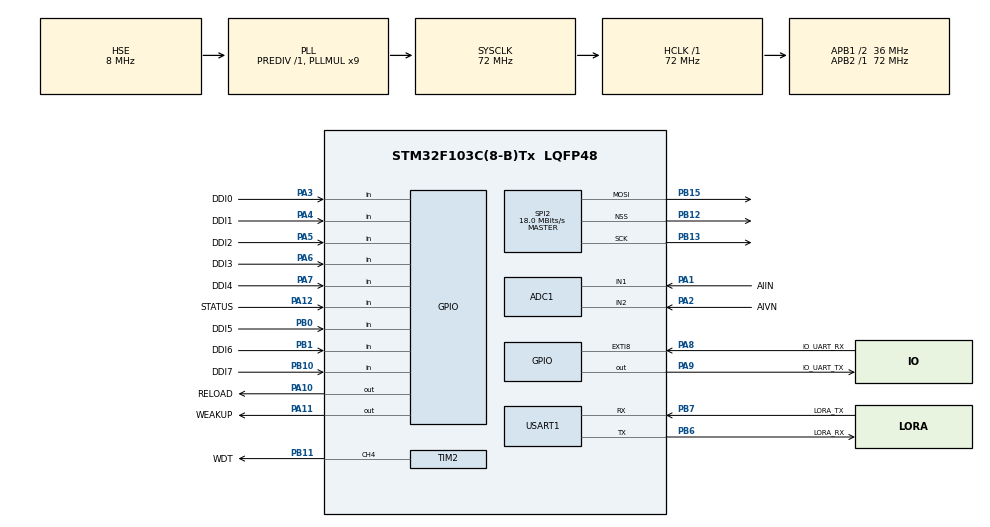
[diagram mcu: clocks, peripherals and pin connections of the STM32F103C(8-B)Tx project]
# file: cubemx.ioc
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ADC1.Channel-0\#ChannelRegularConversion=ADC_CHANNEL_1
ADC1.Channel-1\#ChannelRegularConversion=ADC_CHANNEL_2
ADC1.ContinuousConvMode=ENABLE
ADC1.EnableAnalogWatchDog=true
ADC1.NbrOfConversion=2
ADC1.NbrOfConversionFlag=1
ADC1.Rank-0\#ChannelRegularConversion=1
ADC1.Rank-1\#ChannelRegularConversion=2
ADC1.SamplingTime-0\#ChannelRegularConversion=ADC_SAMPLETIME_71CYCLES_5
ADC1.SamplingTime-1\#ChannelRegularConversion=ADC_SAMPLETIME_71CYCLES_5
ADC1.WatchdogChannel=ADC_CHANNEL_2
ADC1.master=1
Dma.ADC1.0.Direction=DMA_PERIPH_TO_MEMORY
Dma.ADC1.0.Instance=DMA1_Channel1
Dma.ADC1.0.MemDataAlignment=DMA_MDATAALIGN_WORD
Dma.ADC1.0.MemInc=DMA_MINC_ENABLE
Dma.ADC1.0.Mode=DMA_CIRCULAR
Dma.ADC1.0.PeriphDataAlignment=DMA_PDATAALIGN_WORD
Dma.ADC1.0.PeriphInc=DMA_PINC_DISABLE
Dma.ADC1.0.Priority=DMA_PRIORITY_HIGH
Dma.Request0=ADC1
Dma.Request1=USART1_RX
Dma.Request2=USART1_TX
Dma.USART1_RX.1.Direction=DMA_PERIPH_TO_MEMORY
Dma.USART1_RX.1.Instance=DMA1_Channel5
Dma.USART1_RX.1.MemDataAlignment=DMA_MDATAALIGN_BYTE
Dma.USART1_RX.1.MemInc=DMA_MINC_ENABLE
Dma.USART1_RX.1.Mode=DMA_NORMAL
Dma.USART1_RX.1.PeriphDataAlignment=DMA_PDATAALIGN_BYTE
Dma.USART1_RX.1.PeriphInc=DMA_PINC_DISABLE
Dma.USART1_RX.1.Priority=DMA_PRIORITY_MEDIUM
Dma.USART1_TX.2.Direction=DMA_MEMORY_TO_PERIPH
Dma.USART1_TX.2.Instance=DMA1_Channel4
Dma.USART1_TX.2.MemDataAlignment=DMA_MDATAALIGN_BYTE
Dma.USART1_TX.2.MemInc=DMA_MINC_ENABLE
Dma.USART1_TX.2.Mode=DMA_NORMAL
Dma.USART1_TX.2.PeriphDataAlignment=DMA_PDATAALIGN_BYTE
Dma.USART1_TX.2.PeriphInc=DMA_PINC_DISABLE
Dma.USART1_TX.2.Priority=DMA_PRIORITY_MEDIUM
FREERTOS.BinarySemaphores01=Recive,Dynamic,NULL
FREERTOS.Mutexes01=shellMutex,Dynamic,NULL
FREERTOS.Tasks01=shell,-1,256,Shell_Task,Default,&shell,Dynamic,NULL,NULL;at,-2,128,At_Task,Default,&shell,Dynamic,NULL,NULL;mdbus,0,256,Mdbus_Task,Default,NULL,Dynamic,NULL,NULL;read_io,1,256,Read_Io_Task,Default,NULL,Dynamic,NULL,NULL
FREERTOS.Timers01=Timer1,Timer_Callback,osTimerPeriodic,Default,NULL,Dynamic,NULL
FREERTOS.configCHECK_FOR_STACK_OVERFLOW=2
FREERTOS.configMINIMAL_STACK_SIZE=64
FREERTOS.configTIMER_TASK_STACK_DEPTH=256
FREERTOS.configTOTAL_HEAP_SIZE=10240
FREERTOS.configUSE_TIMERS=1
Mcu.Family=STM32F1
Mcu.Name=STM32F103C(8-B)Tx
Mcu.Package=LQFP48
NVIC.DMA1_Channel1_IRQn=true\:5\:0\:true\:false\:true\:true\:false\:true
NVIC.DMA1_Channel4_IRQn=true\:5\:0\:false\:false\:true\:true\:false\:true
NVIC.DMA1_Channel5_IRQn=true\:5\:0\:false\:false\:true\:true\:false\:true
NVIC.EXTI9_5_IRQn=true\:6\:0\:true\:false\:true\:true\:true\:true
NVIC.PriorityGroup=NVIC_PRIORITYGROUP_4
NVIC.TIM1_UP_IRQn=true\:0\:0\:false\:false\:true\:false\:false\:true
NVIC.TIM3_IRQn=true\:4\:0\:true\:false\:true\:false\:true\:true
NVIC.TIM4_IRQn=true\:6\:0\:true\:false\:true\:true\:true\:true
NVIC.TimeBase=TIM1_UP_IRQn
NVIC.TimeBaseIP=TIM1
NVIC.USART1_IRQn=true\:5\:0\:true\:false\:true\:true\:true\:true
PA1.GPIO_Label=AIIN
PA1.Signal=ADCx_IN1
PA10.GPIO_Label=RELOAD
PA10.GPIO_PuPd=GPIO_PULLUP
PA10.GPIO_Speed=GPIO_SPEED_FREQ_LOW
PA10.PinState=GPIO_PIN_SET
PA10.Signal=GPIO_Output
PA11.GPIO_Label=WEAKUP
PA11.GPIO_PuPd=GPIO_PULLUP
PA11.PinState=GPIO_PIN_SET
PA11.Signal=GPIO_Output
PA12.GPIO_Label=STATUS
PA12.GPIO_PuPd=GPIO_PULLUP
PA12.Signal=GPIO_Input
PA13.Mode=Serial_Wire
PA13.Signal=SYS_JTMS-SWDIO
PA14.Mode=Serial_Wire
PA14.Signal=SYS_JTCK-SWCLK
PA2.GPIO_Label=AIVN
PA2.Signal=ADCx_IN2
PA3.GPIO_Label=DDI0
PA3.GPIO_PuPd=GPIO_PULLUP
PA3.Signal=GPIO_Input
PA4.GPIO_Label=DDI1
PA4.GPIO_PuPd=GPIO_PULLUP
PA4.Signal=GPIO_Input
PA5.GPIO_Label=DDI2
PA5.GPIO_PuPd=GPIO_PULLUP
PA5.Signal=GPIO_Input
PA6.GPIO_Label=DDI3
PA6.GPIO_PuPd=GPIO_PULLUP
PA6.Signal=GPIO_Input
PA7.GPIO_Label=DDI4
PA7.GPIO_PuPd=GPIO_PULLUP
PA7.Signal=GPIO_Input
PA8.GPIO_Label=IO_UART_RX
PA8.GPIO_ModeDefaultEXTI=GPIO_MODE_IT_FALLING
PA8.GPIO_PuPd=GPIO_PULLUP
PA8.Signal=GPXTI8
PA9.GPIO_Label=IO_UART_TX
PA9.GPIO_PuPd=GPIO_PULLUP
PA9.GPIO_Speed=GPIO_SPEED_FREQ_HIGH
PA9.PinState=GPIO_PIN_SET
PA9.Signal=GPIO_Output
PB0.GPIO_Label=DDI5
PB0.GPIO_PuPd=GPIO_PULLUP
PB0.Signal=GPIO_Input
PB1.GPIO_Label=DDI6
PB1.GPIO_PuPd=GPIO_PULLUP
PB1.Signal=GPIO_Input
PB10.GPIO_Label=DDI7
PB10.GPIO_PuPd=GPIO_PULLUP
PB10.Signal=GPIO_Input
PB11.GPIO_Label=WDT
PB11.Signal=S_TIM2_CH4
PB12.Mode=NSS_Signal_Hard_Output
PB12.Signal=SPI2_NSS
PB13.Mode=TX_Only_Simplex_Unidirect_Master
PB13.Signal=SPI2_SCK
PB15.Mode=TX_Only_Simplex_Unidirect_Master
PB15.Signal=SPI2_MOSI
PB6.GPIO_Label=LORA_RX
PB6.Mode=Asynchronous
PB6.Signal=USART1_TX
PB7.GPIO_Label=LORA_TX
PB7.GPIO_PuPd=GPIO_PULLUP
PB7.Mode=Asynchronous
PB7.Signal=USART1_RX
PC14-OSC32_IN.Mode=LSE-External-Oscillator
PC14-OSC32_IN.Signal=RCC_OSC32_IN
PC15-OSC32_OUT.Mode=LSE-External-Oscillator
PC15-OSC32_OUT.Signal=RCC_OSC32_OUT
PD0-OSC_IN.Mode=HSE-External-Oscillator
PD0-OSC_IN.Signal=RCC_OSC_IN
PD1-OSC_OUT.Mode=HSE-External-Oscillator
PD1-OSC_OUT.Signal=RCC_OSC_OUT
ProjectManager.HeapSize=0x200
ProjectManager.StackSize=0x800
ProjectManager.TargetToolchain=MDK-ARM V5.27
RCC.ADCPresc=RCC_ADCPCLK2_DIV6
RCC.AHBFreq_Value=72000000
RCC.APB1CLKDivider=RCC_HCLK_DIV2
RCC.APB1Freq_Value=36000000
RCC.APB1TimFreq_Value=72000000
RCC.APB2Freq_Value=72000000
RCC.APB2TimFreq_Value=72000000
RCC.HCLKFreq_Value=72000000
RCC.PLLMUL=RCC_PLL_MUL9
RCC.PLLSourceVirtual=RCC_PLLSOURCE_HSE
RCC.SYSCLKFreq_VALUE=72000000
RCC.SYSCLKSource=RCC_SYSCLKSOURCE_PLLCLK
RCC.USBFreq_Value=72000000
RealThread.RT-Thread.3.1.5.RTOSJjdevice=true
RealThread.RT-Thread.3.1.5.RTOSJjkernel=true
RealThread.RT-Thread.3.1.5.RTOSJjshell=true
RealThread.RT-Thread.3.1.5.RT_DEBUG_INIT=0
RealThread.RT-Thread.3.1.5.RT_MAIN_THREAD_STACK_SIZE=512
RealThread.RT-Thread.3.1.5.RT_USING_CONSOLE=1
RealThread.RT-Thread.3.1.5.RT_USING_HEAP=1
RealThread.RT-Thread.3.1.5.RT_USING_MUTEX=1
RealThread.RT-Thread.3.1.5.RT_USING_OVERFLOW_CHECK=1
RealThread.RT-Thread.3.1.5.RT_USING_TIMER_SOFT=1
SH.ADCx_IN1.0=ADC2_IN1
SH.ADCx_IN1.1=ADC1_IN1,IN1
SH.ADCx_IN2.0=ADC2_IN2
SH.ADCx_IN2.1=ADC1_IN2,IN2
SH.S_TIM2_CH4.0=TIM2_CH4,PWM Generation4 CH4
SPI2.CalculateBaudRate=18.0 MBits/s
SPI2.Direction=SPI_DIRECTION_2LINES
SPI2.Mode=SPI_MODE_MASTER
SPI2.VirtualNSS=VM_NSSHARD
SPI2.VirtualType=VM_MASTER
TIM2.AutoReloadPreload=TIM_AUTORELOAD_PRELOAD_ENABLE
TIM2.Channel-PWM\ Generation4\ CH4=TIM_CHANNEL_4
TIM2.Period=10000-1
TIM2.Prescaler=7200-1
TIM2.Pulse-PWM\ Generation4\ CH4=5000
TIM3.AutoReloadPreload=TIM_AUTORELOAD_PRELOAD_DISABLE
TIM3.Prescaler=72-1
TIM3.TIM_MasterOutputTrigger=TIM_TRGO_RESET
TIM4.AutoReloadPreload=TIM_AUTORELOAD_PRELOAD_DISABLE
TIM4.Prescaler=72-1
USART1.VirtualMode=VM_ASYNC
VP_FREERTOS_VS_CMSIS_V1.Mode=CMSIS_V1
VP_SYS_VS_tim1.Mode=TIM1
VP_TIM2_VS_ClockSourceINT.Mode=Internal
VP_TIM3_VS_ClockSourceINT.Mode=Internal
VP_TIM4_VS_ClockSourceINT.Mode=Internal
board=custom

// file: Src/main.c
/* USER CODE BEGIN Header */
/**
 ******************************************************************************
 * @file           : main.c
 * @brief          : Main program body
 ******************************************************************************
 * @attention
 *
 * <h2><center>&copy; Copyright (c) 2022 STMicroelectronics.
 * All rights reserved.</center></h2>
 *
 * This software component is licensed by ST under BSD 3-Clause license,
 * the "License"; You may not use this file except in compliance with the
 * License. You may obtain a copy of the License at:
 *                        opensource.org/licenses/BSD-3-Clause
 *
 ******************************************************************************
 */
/* USER CODE END Header */
#include "main.h"
#include "cmsis_os.h"
#include "adc.h"
#include "dma.h"
#include "spi.h"
#include "tim.h"
#include "usart.h"
#include "gpio.h"

/* USER CODE BEGIN Includes */
#include "shell_port.h"
#include "mdrtuslave.h"
#include "L101.h"
#include "io_uart.h"
/* USER CODE END Includes */

/* USER CODE BEGIN PTD */
/* USER CODE BEGIN PTD */
extern void MX_RT_Thread_Init(void);
/* USER CODE END PTD */

void SystemClock_Config(void);
void MX_FREERTOS_Init(void);

int main(void)
{

  /* MCU Configuration--------------------------------------------------------*/

  /* Reset of all peripherals, Initializes the Flash interface and the Systick. */
  HAL_Init();

  /* Configure the system clock */
  SystemClock_Config();

  /* Initialize all configured peripherals */
  MX_GPIO_Init();
  MX_DMA_Init();
  MX_ADC1_Init();
  MX_SPI2_Init();
  MX_TIM2_Init();
  MX_USART1_UART_Init();
  MX_TIM3_Init();
  MX_TIM4_Init();
  /* USER CODE BEGIN 2 */
#if defined(USING_IO_UART)
  // HAL_Delay(500);
  MX_Suart_Init();
#endif
  User_Shell_Init(Shell_Object);
  ModbusInit(&Master_Object);
  /*DMA buffer must point to an entity address!!!*/
  HAL_UART_Receive_DMA(&huart1, mdRTU_Recive_Buf(Master_Object), MODBUS_PDU_SIZE_MAX);
  Slist_Init();
#if defined(USING_RTTHREAD)
  MX_RT_Thread_Init();
#endif
  /*Only ADC1 channel 0 uses DMA*/
  /*Start hardware watchdog*/
  HAL_TIM_PWM_Start(&htim2, TIM_CHANNEL_4);
  HAL_ADC_Start_DMA(&hadc1, (uint32_t *)Adc_buffer, ADC_DMA_SIZE);
  /* USER CODE END 2 */

  /* Call init function for freertos objects (in freertos.c) */
  MX_FREERTOS_Init();
  /* Start scheduler */
  osKernelStart();

  /* We should never get here as control is now taken by the scheduler */
  /* Infinite loop */
  /* USER CODE BEGIN WHILE */
  while (1)
  {
    /*After the main thread runs, it is automatically deleted by the operating system*/
    /* USER CODE END WHILE */

  }
}

void SystemClock_Config(void)
{
  RCC_OscInitTypeDef RCC_OscInitStruct = {0};
  RCC_ClkInitTypeDef RCC_ClkInitStruct = {0};
  RCC_PeriphCLKInitTypeDef PeriphClkInit = {0};

  /** Initializes the RCC Oscillators according to the specified parameters
  * in the RCC_OscInitTypeDef structure.
  */
  RCC_OscInitStruct.OscillatorType = RCC_OSCILLATORTYPE_HSE;
  RCC_OscInitStruct.HSEState = RCC_HSE_ON;
  RCC_OscInitStruct.HSEPredivValue = RCC_HSE_PREDIV_DIV1;
  RCC_OscInitStruct.HSIState = RCC_HSI_ON;
  RCC_OscInitStruct.PLL.PLLState = RCC_PLL_ON;
  RCC_OscInitStruct.PLL.PLLSource = RCC_PLLSOURCE_HSE;
  RCC_OscInitStruct.PLL.PLLMUL = RCC_PLL_MUL9;
  if (HAL_RCC_OscConfig(&RCC_OscInitStruct) != HAL_OK)
  {
    Error_Handler();
  }
  /** Initializes the CPU, AHB and APB buses clocks
  */
  RCC_ClkInitStruct.ClockType = RCC_CLOCKTYPE_HCLK|RCC_CLOCKTYPE_SYSCLK
                              |RCC_CLOCKTYPE_PCLK1|RCC_CLOCKTYPE_PCLK2;
  RCC_ClkInitStruct.SYSCLKSource = RCC_SYSCLKSOURCE_PLLCLK;
  RCC_ClkInitStruct.AHBCLKDivider = RCC_SYSCLK_DIV1;
  RCC_ClkInitStruct.APB1CLKDivider = RCC_HCLK_DIV2;
  RCC_ClkInitStruct.APB2CLKDivider = RCC_HCLK_DIV1;

  if (HAL_RCC_ClockConfig(&RCC_ClkInitStruct, FLASH_LATENCY_2) != HAL_OK)
  {
    Error_Handler();
  }
  PeriphClkInit.PeriphClockSelection = RCC_PERIPHCLK_ADC;
  PeriphClkInit.AdcClockSelection = RCC_ADCPCLK2_DIV6;
  if (HAL_RCCEx_PeriphCLKConfig(&PeriphClkInit) != HAL_OK)
  {
    Error_Handler();
  }
}

 /**
  * @brief  Period elapsed callback in non blocking mode
  * @note   This function is called  when TIM1 interrupt took place, inside
  * HAL_TIM_IRQHandler(). It makes a direct call to HAL_IncTick() to increment
  * a global variable "uwTick" used as application time base.
  * @param  htim : TIM handle
  * @retval None
  */
void HAL_TIM_PeriodElapsedCallback(TIM_HandleTypeDef *htim)
{
  /* USER CODE BEGIN Callback 0 */
  IoUart_HandleTypeDef *huart = &S_Uart1;
  static uint8_t Samp_Bits = 0;
  // uint8_t *p = &huart->Tx.pBuf[0];
  /* USER CODE END Callback 0 */
  if (htim->Instance == TIM1) {
    HAL_IncTick();
  }
  /* USER CODE BEGIN Callback 1 */
  else if (htim->Instance == TIM3)
  { /*Data transmission, transmission priority, no transmission before entering the receiving state*/
    if (huart->Tx.En)
    { /*Serial port sending bit status judgment*/
      switch (huart->Tx.Status)
      {
      case COM_START_BIT:
      {
        HAL_GPIO_WritePin(IO_UART_TX_GPIO_Port, IO_UART_TX_Pin, GPIO_PIN_RESET);
        huart->Tx.Status = COM_DATA_BIT;
        huart->Tx.Bits = 0U;
      }
      break;
      case COM_DATA_BIT:
      {
        HAL_GPIO_WritePin(IO_UART_TX_GPIO_Port, IO_UART_TX_Pin, (GPIO_PinState)((*(huart->Tx.pBuf) >> huart->Tx.Bits) & 0x01));

        if (++huart->Tx.Bits >= 8U)
        {
          huart->Tx.Status = huart->Check_Type ? COM_CHECK_BIT : COM_STOP_BIT;
        }
      }
      break;
      case COM_CHECK_BIT:
      {
      }
      break;
      case COM_STOP_BIT:
      {
        HAL_GPIO_WritePin(IO_UART_TX_GPIO_Port, IO_UART_TX_Pin, GPIO_PIN_SET);
        huart->Tx.Bits = 0U;
        if (--huart->Tx.Len)
        {
          huart->Tx.Status = COM_START_BIT;
          huart->Tx.pBuf++;
        }
        else
        {
          huart->Tx.Status = COM_NONE_BIT;
          huart->Tx.En = false;
          huart->Rx.En = true;
          HAL_TIM_Base_Stop_IT(huart->Tx.Timer_Handle);
          __HAL_TIM_SET_COUNTER(huart->Tx.Timer_Handle, 0U);
          HAL_NVIC_EnableIRQ(huart->Rx.IRQn);
          huart->Tx.Finsh_Flag = true;
        }
      }
      break;
      default:
        break;
      }
    }
  }
  else if (htim->Instance == TIM4)
  {
    if (huart->Rx.En)
    {
      switch (huart->Rx.Status)
      {
      case COM_START_BIT:
      {
        Samp_Bits = (Samp_Bits << 1U) | (HAL_GPIO_ReadPin(IO_UART_RX_GPIO_Port, IO_UART_RX_Pin) & 0x01);

        if (++huart->Rx.Filters >= MAX_SAMPING)
        {
          if (!Get_ValidBits(Samp_Bits))
          {
            huart->Rx.Status = COM_DATA_BIT;
            __HAL_TIM_SET_AUTORELOAD(huart->Rx.Timer_Handle, huart->Rx.Sam_Times[huart->Rx.Filters]);
          }
          else
          {
            huart->Rx.Status = COM_STOP_BIT;
          }
          Samp_Bits = 0U;
          huart->Rx.Filters = 0U;
        }
        else
        {
          __HAL_TIM_SET_AUTORELOAD(huart->Rx.Timer_Handle, huart->Rx.Sam_Times[huart->Rx.Filters]);
        }
      }
      break;
      case COM_DATA_BIT: /*Data bit*/
      {
        Samp_Bits = (Samp_Bits << 1U) | (HAL_GPIO_ReadPin(IO_UART_RX_GPIO_Port, IO_UART_RX_Pin) & 0x01);

        if (++huart->Rx.Filters >= MAX_SAMPING)
        {
          huart->Rx.Data |= (Get_ValidBits(Samp_Bits) & 0x01) << huart->Rx.Bits;
          if (huart->Rx.Bits >= 7U)
          {
            huart->Rx.Bits = 0;
            huart->Rx.Status = huart->Check_Type ? COM_CHECK_BIT : COM_STOP_BIT;
          }
          else
          {
            huart->Rx.Bits++;
          }
          __HAL_TIM_SET_AUTORELOAD(huart->Rx.Timer_Handle, huart->Rx.Sam_Times[huart->Rx.Filters]);
          huart->Rx.Filters = 0U;
          Samp_Bits = 0U;
        }
        else
        {
          __HAL_TIM_SET_AUTORELOAD(huart->Rx.Timer_Handle, huart->Rx.Sam_Times[huart->Rx.Filters]);
        }
      }
      break;
      case COM_CHECK_BIT: /*Check bit*/
      {
        huart->Rx.Status = COM_NONE_BIT;
      }
      break;
      case COM_STOP_BIT: /*stop bit*/
      {
        Samp_Bits = (Samp_Bits << 1U) | (HAL_GPIO_ReadPin(IO_UART_RX_GPIO_Port, IO_UART_RX_Pin) & 0x01);

        if (++huart->Rx.Filters >= MAX_SAMPING)
        { /*Stop bit received correctly*/
          if (Get_ValidBits(Samp_Bits))
          {
            huart->Rx.Len++;
            huart->Rx.Status = COM_NONE_BIT;
            // huart->Rx.En = true;
            // huart->Tx.En = false; ///
            HAL_TIM_Base_Stop_IT(huart->Rx.Timer_Handle);
            __HAL_TIM_SET_COUNTER(huart->Rx.Timer_Handle, 0U);
            // HAL_NVIC_EnableIRQ(huart->Rx.IRQn);
            /*Two interrupts are generated when one data is received?*/
            // huart->Rx.Finsh_Flag ^= true;
            huart->Rx.Finsh_Flag = true;
          }
          huart->Rx.Filters = 0U;
          Samp_Bits = 0U;
        }
        else
        {
          __HAL_TIM_SET_AUTORELOAD(huart->Rx.Timer_Handle, huart->Rx.Sam_Times[huart->Rx.Filters]);
        }
      }
      break;
      default:
        break;
      }
    }
  }
  /* USER CODE END Callback 1 */
}

void Error_Handler(void)
{
  __disable_irq();
  while (1)
  {
  }
}

/************************ (C) COPYRIGHT STMicroelectronics *****END OF FILE****/

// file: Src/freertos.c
/* USER CODE BEGIN Header */
/**
 ******************************************************************************
 * File Name          : freertos.c
 * Description        : Code for freertos applications
 ******************************************************************************
 * @attention
 *
 * <h2><center>&copy; Copyright (c) 2022 STMicroelectronics.
 * All rights reserved.</center></h2>
 *
 * This software component is licensed by ST under Ultimate Liberty license
 * SLA0044, the "License"; You may not use this file except in compliance with
 * the License. You may obtain a copy of the License at:
 *                             www.st.com/SLA0044
 *
 ******************************************************************************
 */
/* USER CODE END Header */

#include "FreeRTOS.h"
#include "task.h"
#include "main.h"
#include "cmsis_os.h"

/* USER CODE BEGIN Includes */
#include "shell.h"
#include "shell_port.h"
#include "mdrtuslave.h"
#include "at_usr.h"
#include "io_signal.h"
#include "L101.h"
#include "io_uart.h"
/* USER CODE END Includes */

/* USER CODE BEGIN PTD */
bool g_At = false;
SHELL_EXPORT_VAR(SHELL_CMD_PERMISSION(0) | SHELL_CMD_TYPE(SHELL_TYPE_VAR_INT), g_at, &g_At, at_cmd);
extern void Free_Mode(Shell *shell, char *pData);
extern bool Check_Mode(ModbusRTUSlaveHandler handler);
/* USER CODE END PTD */

osThreadId shellHandle;
osThreadId atHandle;
osThreadId mdbusHandle;
osThreadId read_ioHandle;
osTimerId Timer1Handle;
osMutexId shellMutexHandle;
osSemaphoreId ReciveHandle;

void Shell_Task(void const * argument);
void At_Task(void const * argument);
void Mdbus_Task(void const * argument);
void Read_Io_Task(void const * argument);
void Timer_Callback(void const * argument);

void MX_FREERTOS_Init(void); /* (MISRA C 2004 rule 8.1) */

/* GetIdleTaskMemory prototype (linked to static allocation support) */
void vApplicationGetIdleTaskMemory( StaticTask_t **ppxIdleTaskTCBBuffer, StackType_t **ppxIdleTaskStackBuffer, uint32_t *pulIdleTaskStackSize );

/* GetTimerTaskMemory prototype (linked to static allocation support) */
void vApplicationGetTimerTaskMemory( StaticTask_t **ppxTimerTaskTCBBuffer, StackType_t **ppxTimerTaskStackBuffer, uint32_t *pulTimerTaskStackSize );

/* Hook prototypes */
void vApplicationStackOverflowHook(xTaskHandle xTask, signed char *pcTaskName);

/* USER CODE BEGIN 4 */
__weak void vApplicationStackOverflowHook(xTaskHandle xTask, signed char *pcTaskName)
{
  /* Run time stack overflow checking is performed if
  configCHECK_FOR_STACK_OVERFLOW is defined to 1 or 2. This hook function is
  called if a stack overflow is detected. */
  shellPrint(&shell, "%s is stack overflow!\r\n", pcTaskName);
}
/* USER CODE END 4 */

/* USER CODE BEGIN GET_IDLE_TASK_MEMORY */
static StaticTask_t xIdleTaskTCBBuffer;
static StackType_t xIdleStack[configMINIMAL_STACK_SIZE];

void vApplicationGetIdleTaskMemory(StaticTask_t **ppxIdleTaskTCBBuffer, StackType_t **ppxIdleTaskStackBuffer, uint32_t *pulIdleTaskStackSize)
{
  *ppxIdleTaskTCBBuffer = &xIdleTaskTCBBuffer;
  *ppxIdleTaskStackBuffer = &xIdleStack[0];
  *pulIdleTaskStackSize = configMINIMAL_STACK_SIZE;
  /* place for user code */
}
/* USER CODE END GET_IDLE_TASK_MEMORY */

/* USER CODE BEGIN GET_TIMER_TASK_MEMORY */
static StaticTask_t xTimerTaskTCBBuffer;
static StackType_t xTimerStack[configTIMER_TASK_STACK_DEPTH];

void vApplicationGetTimerTaskMemory(StaticTask_t **ppxTimerTaskTCBBuffer, StackType_t **ppxTimerTaskStackBuffer, uint32_t *pulTimerTaskStackSize)
{
  *ppxTimerTaskTCBBuffer = &xTimerTaskTCBBuffer;
  *ppxTimerTaskStackBuffer = &xTimerStack[0];
  *pulTimerTaskStackSize = configTIMER_TASK_STACK_DEPTH;
  /* place for user code */
}
/* USER CODE END GET_TIMER_TASK_MEMORY */

void MX_FREERTOS_Init(void) {
  /* Create the mutex(es) */
  /* definition and creation of shellMutex */
  osMutexDef(shellMutex);
  shellMutexHandle = osMutexCreate(osMutex(shellMutex));

  /* Create the semaphores(s) */
  /* definition and creation of Recive */
  osSemaphoreDef(Recive);
  ReciveHandle = osSemaphoreCreate(osSemaphore(Recive), 1);

  /* Create the timer(s) */
  /* definition and creation of Timer1 */
  osTimerDef(Timer1, Timer_Callback);
  Timer1Handle = osTimerCreate(osTimer(Timer1), osTimerPeriodic, NULL);

  /* Create the thread(s) */
  /* definition and creation of shell */
  osThreadDef(shell, Shell_Task, osPriorityBelowNormal, 0, 256);
  shellHandle = osThreadCreate(osThread(shell), (void*) &shell);

  /* definition and creation of at */
  osThreadDef(at, At_Task, osPriorityLow, 0, 128);
  atHandle = osThreadCreate(osThread(at), (void*) &shell);

  /* definition and creation of mdbus */
  osThreadDef(mdbus, Mdbus_Task, osPriorityNormal, 0, 256);
  mdbusHandle = osThreadCreate(osThread(mdbus), NULL);

  /* definition and creation of read_io */
  osThreadDef(read_io, Read_Io_Task, osPriorityAboveNormal, 0, 256);
  read_ioHandle = osThreadCreate(osThread(read_io), NULL);

  /* USER CODE BEGIN RTOS_THREADS */
  osTimerStart(Timer1Handle, MDTASK_SENDTIMES);
  /*Suspend shell task*/
#if defined(USING_L101)
  osThreadSuspend(shellHandle);
#endif
  /* add threads, ... */
  /* USER CODE END RTOS_THREADS */

}

void Shell_Task(void const * argument)
{
  /* USER CODE BEGIN Shell_Task */
  /* Infinite loop */
  for (;;)
  {
#if defined(USING_DEBUG)
    // shellPrint(&shell, "shell_Task is running !\r\n");
    // osDelay(1000);
#endif
    shellTask((void *)argument);
  }
  /* USER CODE END Shell_Task */
}

void At_Task(void const * argument)
{
  /* USER CODE BEGIN At_Task */
  char recv_data = '\0';
  // static uint16_t counter = 0;
  /* Infinite loop */
  for (;;)
  {
#if defined(USING_DEBUG)
    // uint8_t data = 0;
    // extern L101_HandleTypeDef L101_Map[EXTERN_DIGITAL_MAX];
    // L101_Map[0].Check.State = L_OK;
    // L101_Map[1].Check.State = L_OK;
    // L101_Map[7].Check.State = L_OK;
    // HAL_SUART_Receive(&S_Uart1, &data, 1, 0x10);
    // shellPrint(&shell, "flag = %d,Recv_Data = 0x%02x.\r\n", S_Uart1.Rx.Finsh_Flag, data);
    // S_Uart1.Rx.Finsh_Flag = false;
    // osDelay(1000);

    if (g_At)
    {
      /*Suspend mdbushandle task*/
      osThreadSuspendAll();
      osTimerStop(Timer1Handle);
      g_At = false;
      Free_Mode((Shell *)argument, &recv_data);
      /*Restore mdbushandle task*/
      osThreadResumeAll();
      osTimerStart(Timer1Handle, MDTASK_SENDTIMES);
    }
#endif
    // at_process(&at);
    osDelay(5);
  }
  /* USER CODE END At_Task */
}

void Mdbus_Task(void const * argument)
{
  /* USER CODE BEGIN Mdbus_Task */
  /* Infinite loop */
  for (;;)
  {
    /*https://www.cnblogs.com/w-smile/p/11333950.html*/
    if (osOK == osSemaphoreWait(ReciveHandle, osWaitForever))
    {
#if defined(USING_L101)
      Check_Mode(Master_Object) ? mdRTU_Handler(Master_Object) : Shell_Mode();
#else
      mdRTU_Handler(Master_Object);
#endif
#if defined(USING_DEBUG)
      shellWriteEndLine(&shell, "Received a data!\r\n", 19U);
      // shellPrint(&shell, "Received a data!\r\n");
      // shellPrint(&shell, "Mdbus_Task is running !\r\n");
      // shellPrint(&shell, "%s\r\n", Master_Object->receiveBuffer->buf);
#endif
    }

#if defined(USING_DEBUG)
//     shellPrint(&shell, "Master_Object = 0x%p, ptick = 0x%p\r\n", Master_Object,
//                Master_Object->portRTUTimerTick);
//     osDelay(1000);
#endif

    // osDelay(10);
  }
  /* USER CODE END Mdbus_Task */
}

void Read_Io_Task(void const * argument)
{
  /* USER CODE BEGIN Read_Io_Task */
  /* Infinite loop */
  for (;;)
  {
    Io_Digital_Handle();
    Io_Analog_Handle();
    osDelay(50);
  }
  /* USER CODE END Read_Io_Task */
}

/* Timer_Callback function */
void Timer_Callback(void const * argument)
{
  /* USER CODE BEGIN Timer_Callback */
  Master_Poll();
  /* USER CODE END Timer_Callback */
}

/************************ (C) COPYRIGHT STMicroelectronics *****END OF FILE****/
